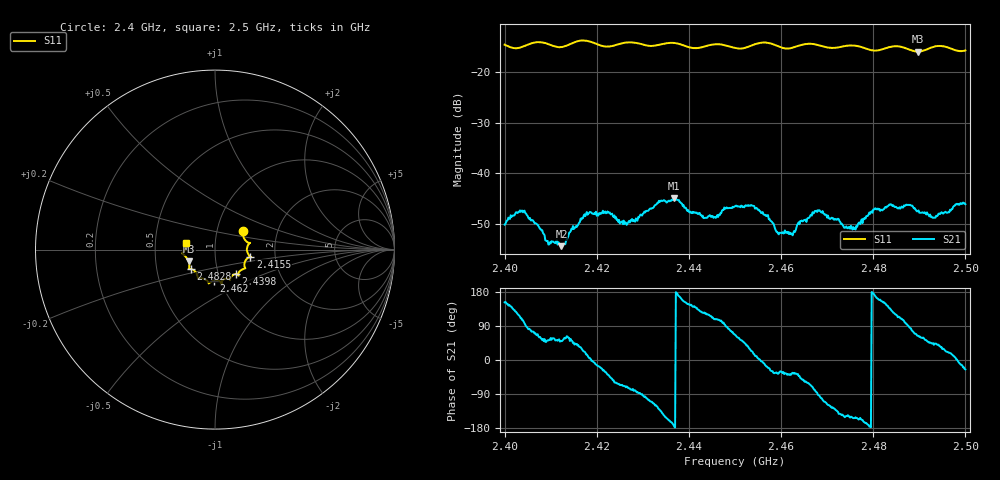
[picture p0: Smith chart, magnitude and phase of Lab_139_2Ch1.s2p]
# Hz S RI R 50
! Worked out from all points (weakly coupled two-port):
!   601 points, 2.4 GHz to 2.5 GHz, reference 50 ohm
!   highest |S21| = -44.99 dB at 2.4368 GHz (marker M1); lowest = -54.4 dB at 2.4123 GHz (marker M2)
!   lowest |S11| = -15.9 dB at 2.4897 GHz (marker M3), VSWR 1.38, Z = 36.9 - j4.86 ohm
!   |S11| at or under -10 dB: start of sweep to end of sweep
!   S12 and S22 are empty: the file has one direction only
!   S11 on the Smith chart (normalised r, x): 2.4 GHz: 1.33, +0.29; 2.4155 GHz: 1.49, -0.12; 2.4398 GHz: 1.21, -0.34; 2.462 GHz: 0.93, -0.33; 2.4828 GHz: 0.74, -0.17; 2.5 GHz: 0.72, +0.06
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2.4e9  0.1553 0.1059  -0.00274 0.00145  0 0  0 0
2.403833e9  0.1723 0.0484  -0.00113 0.00411  0 0  0 0
2.409333e9  0.189 0.0325  0.00132 0.00168  0 0  0 0
2.412333e9  0.1778 -0.0047  0.00123 0.00144  0 0  0 0
2.4155e9  0.1974 -0.0392  0.00224 0.00198  0 0  0 0
2.416667e9  0.2022 -0.0424  0.003 0.00177  0 0  0 0
2.421833e9  0.1693 -0.0618  0.00355 -0.00221  0 0  0 0
2.4265e9  0.1685 -0.1031  0.00106 -0.00289  0 0  0 0
2.433333e9  0.1298 -0.1343  -0.00311 -0.00403  0 0  0 0
2.436833e9  0.1317 -0.1444  -0.00561 -0.000432  0 0  0 0
2.439833e9  0.115 -0.1362  -0.00366 0.00229  0 0  0 0
2.445833e9  0.0838 -0.1703  -0.00107 0.00345  0 0  0 0
2.45e9  0.065 -0.1618  0.00186 0.00433  0 0  0 0
2.453667e9  0.0364 -0.1815  0.0044 0.0019  0 0  0 0
2.462e9  -0.00542 -0.1733  0.00198 -0.00153  0 0  0 0
2.466667e9  -0.035 -0.1883  0.00133 -0.00357  0 0  0 0
2.475833e9  -0.0946 -0.1579  -0.00251 -0.00125  0 0  0 0
2.482833e9  -0.1358 -0.1088  -0.00377 0.00259  0 0  0 0
2.483333e9  -0.1397 -0.1086  -0.0036 0.00317  0 0  0 0
2.489667e9  -0.147 -0.0642  0.00186 0.00378  0 0  0 0
2.493e9  -0.1764 -0.0273  0.00257 0.00254  0 0  0 0
2.5e9  -0.1602 0.0395  0.00448 -0.00207  0 0  0 0
